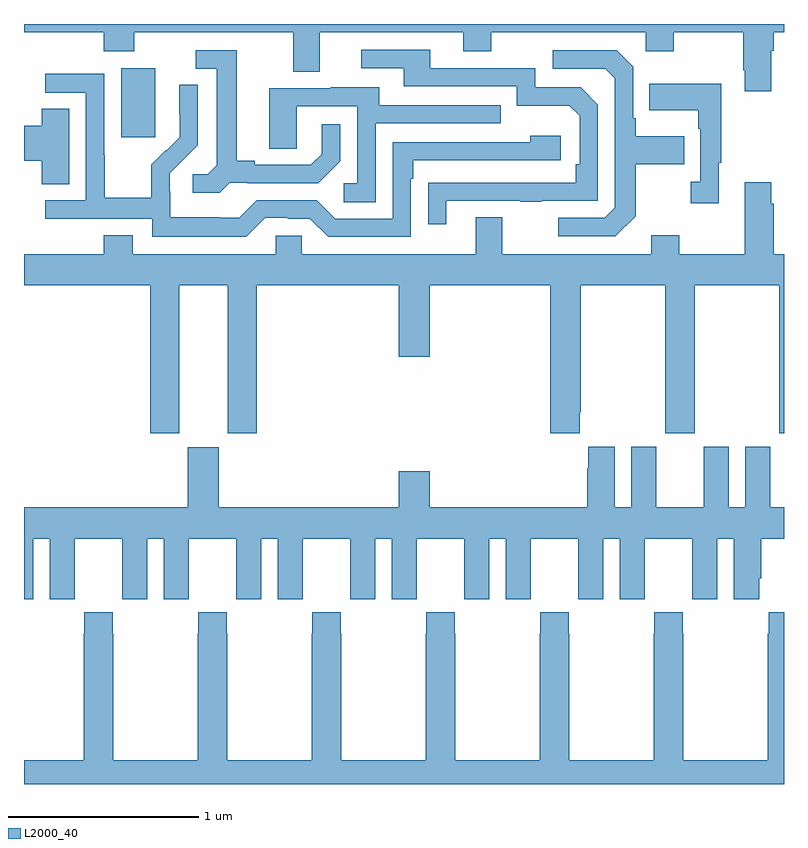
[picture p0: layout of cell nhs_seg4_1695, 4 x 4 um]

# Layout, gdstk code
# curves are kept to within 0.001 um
import gdstk
lib = gdstk.Library(unit=1e-6, precision=1e-09)
def R(c, l, rs):  # rectangles x0, y0, x1, y1
    for r in rs: c.add(gdstk.rectangle(r[:2], r[2:], *l))
def P(c, l, *ps):  # polygons
    for p in ps: c.add(gdstk.Polygon(p, *l))
L2000_40 = (2000, 40)

nhs_seg4_1695 = lib.new_cell('nhs_seg4_1695')
R(nhs_seg4_1695, L2000_40, [(199.511,760.305,199.69,760.666)])
P(nhs_seg4_1695, L2000_40, [(202.933,760.76),(202.946,760.76),(202.946,760.856),(203,760.856),(203,760.9),(199,760.9),(199,760.856),(199.421,760.856),(199.421,760.757),(199.581,760.757),(199.581,760.856),(200.417,760.856),(200.417,760.648),(200.557,760.648),(200.557,760.856),(201.311,760.856),(201.311,760.757),(201.459,760.757),(201.459,760.856),(202.272,760.856),(202.272,760.757),(202.419,760.757),(202.419,760.856),(202.786,760.856),(202.786,760.657),(202.793,760.657),(202.793,760.545),(202.933,760.545)],
  [(201.223,759.969),(201.613,759.969),(201.613,759.964),(201.725,759.964),(201.725,759.969),(202.02,759.969),(202.02,760.476),(201.93,760.566),(201.69,760.566),(201.69,760.668),(201.139,760.668),(201.139,760.764),(200.775,760.764),(200.775,760.668),(200.999,760.668),(200.999,760.572),(201.594,760.572),(201.594,760.469),(201.871,760.469),(201.924,760.416),(201.924,760.162),(201.904,760.162),(201.904,760.065),(201.127,760.064),(201.127,759.846),(201.223,759.846)],
  [(202.219,759.889),(202.219,760.162),(202.475,760.162),(202.475,760.309),(202.219,760.309),(202.219,760.405),(202.206,760.405),(202.206,760.674),(202.119,760.761),(201.783,760.761),(201.783,760.665),(202.059,760.665),(202.11,760.614),(202.11,759.933),(202.056,759.879),(201.813,759.879),(201.813,759.783),(202.113,759.783)],
  [(200.082,760.065),(200.176,760.065),(200.176,760.062),(200.548,760.062),(200.664,760.178),(200.664,760.372),(200.567,760.372),(200.567,760.215),(200.51,760.158),(200.215,760.158),(200.215,760.181),(200.119,760.181),(200.119,760.761),(199.905,760.761),(199.905,760.665),(200.015,760.665),(200.015,760.157),(199.968,760.11),(199.887,760.11),(199.887,760.013),(200.03,760.013)],
  [(200.271,759.879),(200.387,759.879),(200.387,759.876),(200.505,759.876),(200.601,759.78),(201.036,759.78),(201.036,760.085),(201.049,760.085),(201.049,760.182),(201.826,760.182),(201.826,760.312),(201.665,760.312),(201.665,760.278),(200.94,760.278),(200.94,759.876),(200.637,759.876),(200.541,759.972),(200.226,759.972),(200.133,759.879),(200.033,759.879),(200.033,759.883),(199.77,759.883),(199.77,760.017),(199.768,760.017),(199.768,760.114),(199.914,760.262),(199.914,760.58),(199.818,760.58),(199.818,760.426),(199.82,760.426),(199.82,760.304),(199.749,760.233),(199.746,760.236),(199.669,760.159),(199.669,759.985),(199.425,759.985),(199.425,760.208),(199.422,760.208),(199.422,760.638),(199.113,760.638),(199.113,760.539),(199.326,760.539),(199.326,759.972),(199.113,759.972),(199.113,759.876),(199.674,759.876),(199.674,759.779),(200.171,759.779)],
  [(202.657,760.169),(202.669,760.169),(202.669,760.585),(202.291,760.585),(202.291,760.445),(202.548,760.445),(202.548,760.349),(202.56,760.349),(202.56,760.07),(202.509,760.07),(202.509,759.957),(202.657,759.957)],
  [(200.85,760.377),(201.509,760.377),(201.509,760.473),(200.869,760.473),(200.869,760.567),(200.615,760.567),(200.615,760.563),(200.291,760.563),(200.291,760.243),(200.436,760.243),(200.436,760.467),(200.754,760.467),(200.754,760.062),(200.682,760.062),(200.682,759.961),(200.85,759.961)],
  [(199.237,760.454),(199.094,760.454),(199.094,760.364),(199,760.364),(199,760.181),(199.094,760.181),(199.094,760.057),(199.237,760.057)],
  [(199.816,759.524),(200.072,759.524),(200.072,758.745),(200.225,758.745),(200.225,759.524),(200.972,759.524),(200.972,759.15),(201.136,759.15),(201.136,759.524),(201.77,759.524),(201.77,758.745),(201.925,758.745),(201.925,758.857),(201.93,758.857),(201.93,759.524),(202.375,759.524),(202.375,758.745),(202.53,758.745),(202.53,759.524),(202.975,759.524),(202.975,758.745),(203,758.745),(203,759.688),(202.946,759.688),(202.946,759.953),(202.933,759.953),(202.933,760.066),(202.793,760.066),(202.793,759.688),(202.449,759.688),(202.449,759.787),(202.301,759.787),(202.301,759.688),(201.517,759.688),(201.517,759.883),(201.377,759.883),(201.377,759.688),(200.463,759.688),(200.463,759.786),(200.325,759.786),(200.325,759.688),(199.573,759.688),(199.573,759.787),(199.421,759.787),(199.421,759.688),(199,759.688),(199,759.524),(199.664,759.524),(199.664,758.745),(199.816,758.745)],
  [(200.026,758.673),(199.862,758.673),(199.862,758.356),(199,758.356),(199,757.872),(199.048,757.872),(199.048,758.192),(199.136,758.192),(199.136,757.872),(199.266,757.872),(199.266,757.984),(199.267,757.984),(199.267,758.192),(199.517,758.192),(199.517,757.984),(199.518,757.984),(199.518,757.872),(199.648,757.872),(199.648,758.192),(199.736,758.192),(199.736,757.872),(199.866,757.872),(199.866,757.984),(199.867,757.984),(199.867,758.192),(200.117,758.192),(200.117,757.984),(200.118,757.984),(200.118,757.872),(200.248,757.872),(200.248,758.192),(200.336,758.192),(200.336,757.872),(200.466,757.872),(200.466,757.984),(200.467,757.984),(200.467,758.192),(200.717,758.192),(200.717,757.984),(200.718,757.984),(200.718,757.872),(200.848,757.872),(200.848,758.192),(200.936,758.192),(200.936,757.872),(201.066,757.872),(201.066,757.984),(201.067,757.984),(201.067,758.192),(201.317,758.192),(201.317,757.984),(201.318,757.984),(201.318,757.872),(201.448,757.872),(201.448,758.192),(201.536,758.192),(201.536,757.872),(201.666,757.872),(201.666,757.984),(201.667,757.984),(201.667,758.192),(201.917,758.192),(201.917,757.984),(201.918,757.984),(201.918,757.872),(202.048,757.872),(202.048,758.192),(202.136,758.192),(202.136,757.872),(202.266,757.872),(202.266,757.984),(202.267,757.984),(202.267,758.192),(202.517,758.192),(202.517,757.984),(202.518,757.984),(202.518,757.872),(202.648,757.872),(202.648,758.192),(202.736,758.192),(202.736,757.872),(202.87,757.872),(202.87,757.984),(202.88,757.984),(202.88,758.192),(203,758.192),(203,758.356),(202.927,758.356),(202.927,758.674),(202.796,758.674),(202.796,758.356),(202.708,758.356),(202.708,758.674),(202.577,758.674),(202.577,758.356),(202.327,758.356),(202.327,758.674),(202.196,758.674),(202.196,758.356),(202.108,758.356),(202.108,758.674),(201.971,758.674),(201.971,758.561),(201.965,758.561),(201.965,758.356),(201.136,758.356),(201.136,758.545),(200.972,758.545),(200.972,758.356),(200.026,758.356)],
  [(200.517,757.804),(200.517,757.691),(200.515,757.691),(200.515,757.024),(200.07,757.024),(200.07,757.691),(200.067,757.691),(200.067,757.804),(199.917,757.804),(199.917,757.691),(199.915,757.691),(199.915,757.024),(199.47,757.024),(199.47,757.691),(199.467,757.691),(199.467,757.804),(199.317,757.804),(199.317,757.691),(199.315,757.691),(199.315,757.024),(199,757.024),(199,756.9),(203,756.9),(203,757.804),(202.921,757.804),(202.921,757.691),(202.915,757.691),(202.915,757.024),(202.47,757.024),(202.47,757.691),(202.467,757.691),(202.467,757.804),(202.317,757.804),(202.317,757.691),(202.315,757.691),(202.315,757.024),(201.87,757.024),(201.87,757.691),(201.867,757.691),(201.867,757.804),(201.717,757.804),(201.717,757.691),(201.715,757.691),(201.715,757.024),(201.27,757.024),(201.27,757.691),(201.267,757.691),(201.267,757.804),(201.117,757.804),(201.117,757.691),(201.115,757.691),(201.115,757.024),(200.67,757.024),(200.67,757.691),(200.667,757.691),(200.667,757.804)])

lib.write_gds('nhs_seg4_1695.gds')
